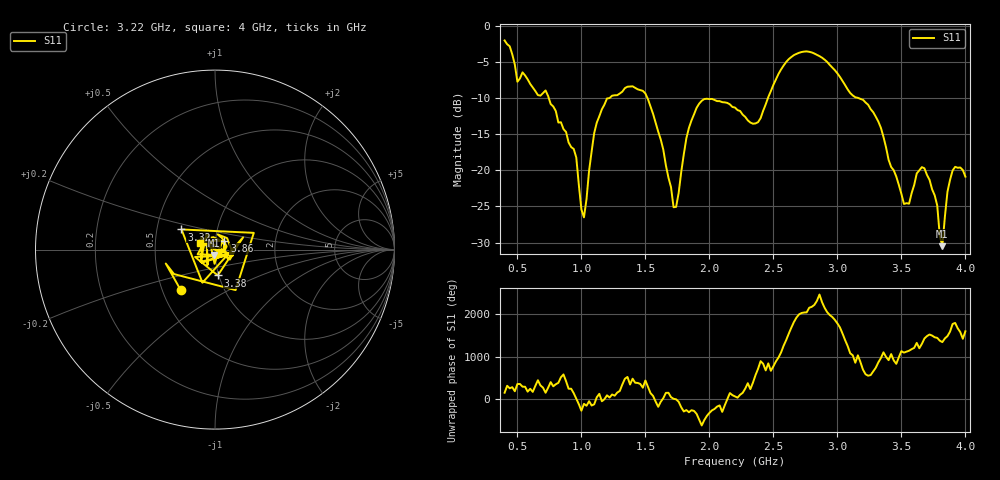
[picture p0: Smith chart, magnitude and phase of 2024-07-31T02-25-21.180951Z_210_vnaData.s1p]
!Created with skrf (http://scikit-rf.org).
# Hz S RI R 50.0
!freq ReS11 ImS11
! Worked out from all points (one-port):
!   181 points, 400 MHz to 4 GHz, reference 50 ohm
!   lowest |S11| = -30.5 dB at 3.82 GHz (marker M1), VSWR 1.06, Z = 49.5 - j2.92 ohm
!   |S11| at or under -10 dB: 745.6 MHz to 1.21 GHz (464.4 MHz wide, 47.5 % of centre); 1.517 GHz to 2.457 GHz (940 MHz wide, 47.3 % of centre); 3.169 GHz to end of sweep
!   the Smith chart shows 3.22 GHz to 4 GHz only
!   S11 on the Smith chart (normalised r, x): 3.22 GHz: 0.62, -0.31; 3.32 GHz: 0.67, +0.16; 3.38 GHz: 0.99, -0.29; 3.86 GHz: 1.11, +0.11; 4 GHz: 0.85, +0.06
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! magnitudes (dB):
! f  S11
! 400 MHz  -2.0
! 500 MHz  -7.7
! 720 MHz  -8.9
! 860 MHz  -14.3
! 960 MHz  -18.2
! 1.02 GHz  -26.5
! 1.12 GHz  -13.4
! 1.3 GHz  -9.3
! 1.5 GHz  -9.3
! 1.72 GHz  -25.1
! 1.76 GHz  -23.1
! 1.82 GHz  -15.5
! 1.92 GHz  -10.7
! 2.2 GHz  -11.3
! 2.38 GHz  -13.3
! 2.66 GHz  -4.0
! 2.88 GHz  -4.4
! 3.1 GHz  -9.3
! 3.22 GHz  -10.6
! 3.32 GHz  -13.2
! 3.38 GHz  -16.8
! 3.56 GHz  -24.6
! 3.68 GHz  -19.7
! 3.78 GHz  -24.9
! 3.82 GHz  -30.5
! 3.86 GHz  -22.9
! 3.92 GHz  -19.5
! 4 GHz  -20.9
